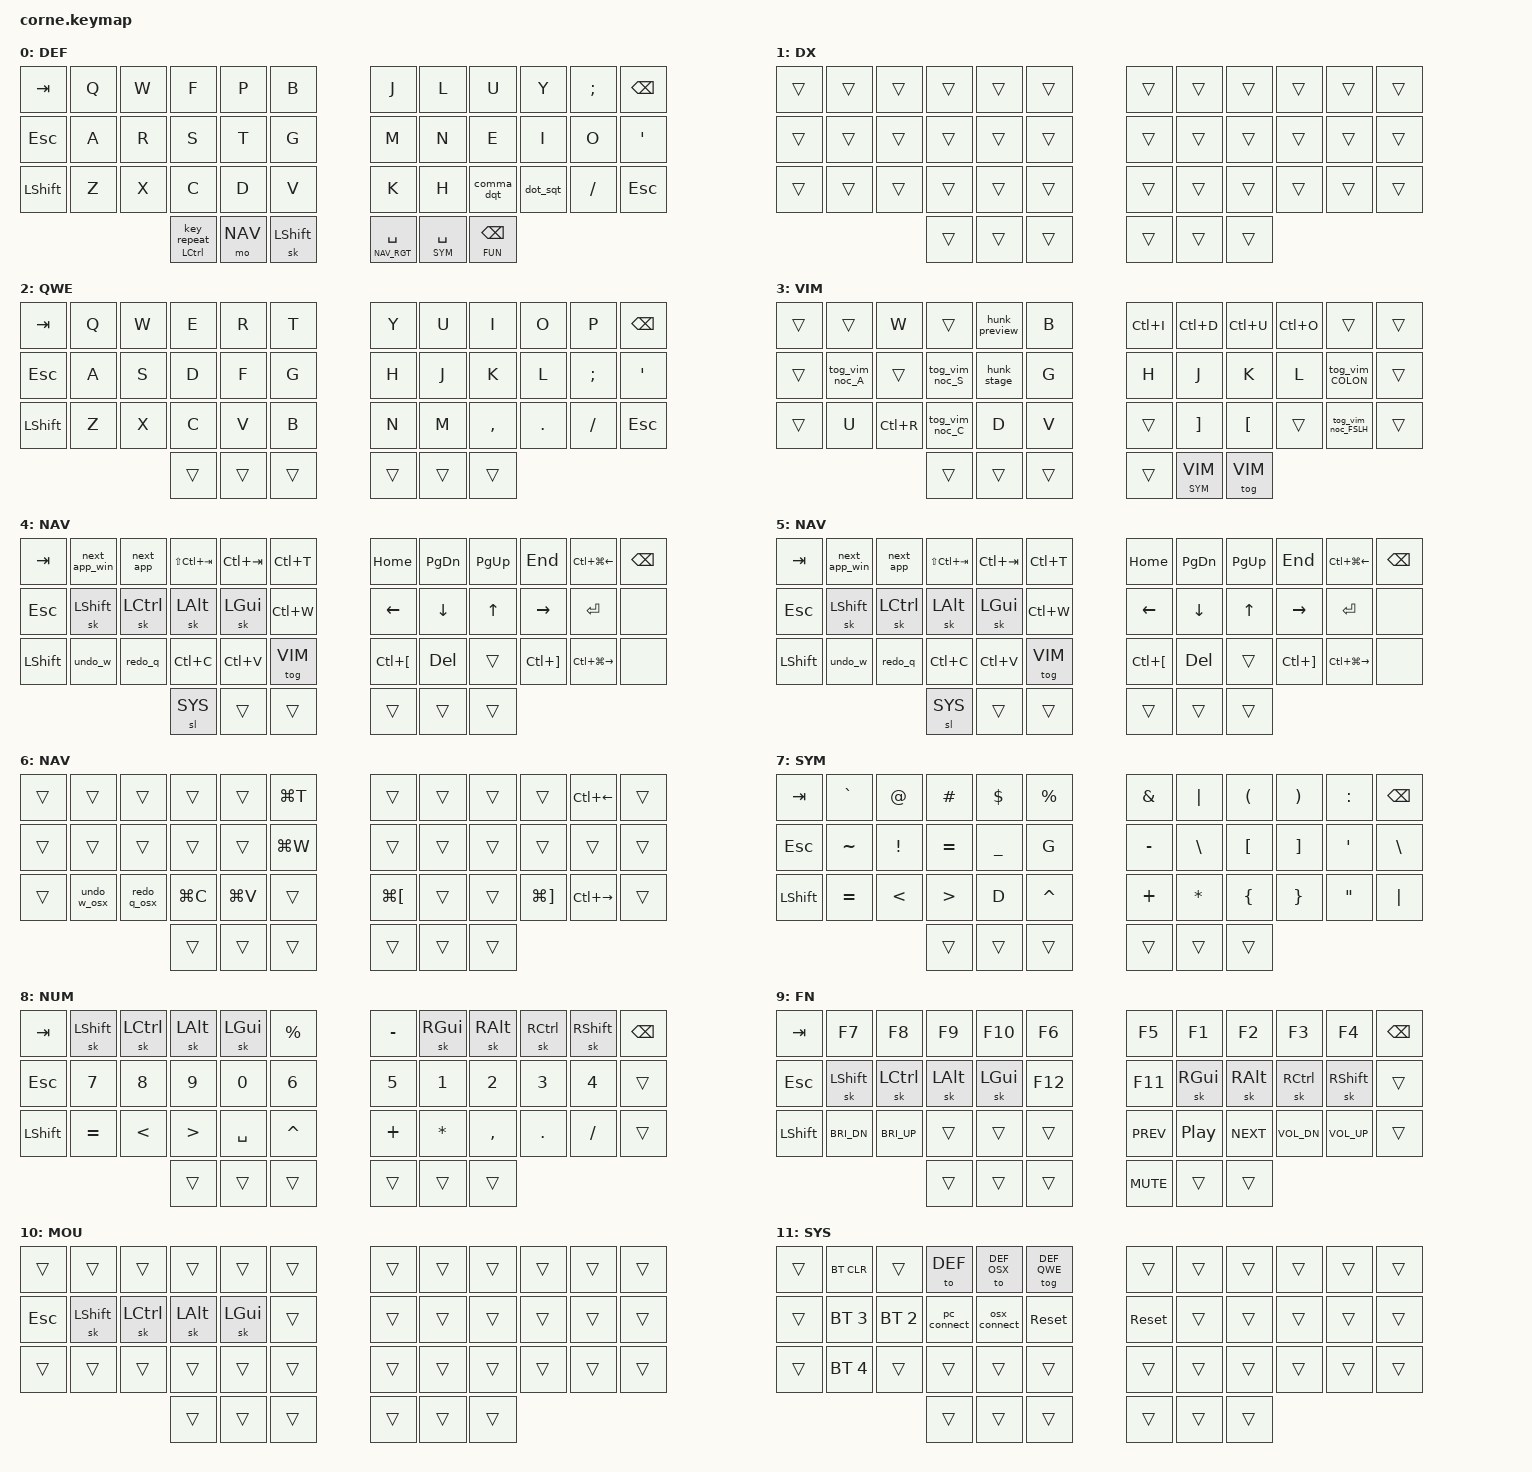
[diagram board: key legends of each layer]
/*
 * Copyright (c) 2020 The ZMK Contributors
 *
 * SPDX-License-Identifier: MIT
 */

#include <behaviors.dtsi>
#include <dt-bindings/zmk/keys.h>
#include <dt-bindings/zmk/bt.h>
#include <dt-bindings/zmk/ext_power.h>

// layers ID definition
#define DEF     0
#define DEF_OSX 1
#define DEF_QWE 2
#define VIM     3
#define NAV     4
#define NAV_RGT 5
#define NAV_OSX 6
#define SYM     7
#define NUM     8
#define FUN     9
#define MOU    10
#define SYS    11

// macros definition
#define meh      LC(LS(LALT))
#define hyper    LG(LC(LS(LALT)))
#define deg      RA(LS(SEMI))
#define prev_tab LS(LC(TAB))
#define next_tab LC(TAB)

// OSX specific macros
#define copy_OSX        LG(C)
#define paste_OSX       LG(V)
#define undo_OSX        LG(Z)
#define redo_OSX        LG(LS(Z))
#define new_tab_OSX     LG(T)
#define close_win_OSX   LG(W)
#define prev_screen_OSX LC(LEFT)
#define next_screen_OSX LC(RIGHT)
#define prev_page_OSX   LG(LBKT)
#define next_page_OSX   LG(RBKT)

// Windows/Linux specific macros
#define copy        LC(C)
#define paste       LC(V)
#define undo        LC(Z)
#define redo        LC(LS(Z))
#define new_tab     LC(T)
#define close_win   LC(W)
#define prev_screen LC(LG(LEFT))
#define next_screen LC(LG(RIGHT))
#define prev_page   LC(LBKT)
#define next_page   LC(RBKT)

// Vim-specific definition
#define TOG_VIM_KEY(key,...) \
    ZMK_MACRO(tog_vim_##key, \
        wait-ms = <0>; \
        tap-ms = <40>; \
        bindings = <&tog VIM &kp key>; \
        __VA_ARGS__ \
    )
#define TOG_VIM_KEY_NOCTRL(key) \
    tog_vim_noc_##key: tog_vim_noc_##key { \
            compatible = "zmk,behavior-mod-morph"; \
            #binding-cells = <0>; \
            bindings = <&tog_vim_##key>, <&kp key>; \
            mods = <(MOD_LCTL|MOD_RCTL)>; \
            keep-mods = <(MOD_LCTL|MOD_RCTL)>; \
        };

&sk {
    release-after-ms = <1000>;
};
&sl {
    release-after-ms = <2000>;
};

/ {
    conditional_layers {
        compatible = "zmk,conditional-layers";
        nav_osx_layer {
            if-layers = <DEF_OSX NAV>;
            then-layer = <NAV_OSX>;
        };
        num_layer {
            if-layers = <NAV SYM>;
            then-layer = <NUM>;
        };
        num_right_layer {
            if-layers = <NAV_RGT SYM>;
            then-layer = <NUM>;
        };
        num_osx_layer {
            if-layers = <NAV_OSX SYM>;
            then-layer = <NUM>;
        };
        mouse_layer {
            if-layers = <NAV NAV_RGT>;
            then-layer = <MOU>;
        };
    };

    macros {
        // esc_space: esc_space {
        //     compatible = "zmk,behavior-macro";
        //     #binding-cells = <0>;
        //     bindings
        //         = <&macro_press &kp ESC>
        //         , <&macro_tap &kp SPACE>
        //         , <&macro_release &kp ESC>
        //         ;
        // };
        next_win: next_win {
            compatible = "zmk,behavior-macro";
            #binding-cells = <0>;
            bindings
                = <&macro_press &kp LALT>
                , <&macro_tap &kp TAB>
                , <&macro_pause_for_layer>
                , <&macro_release &kp LALT>
                ;
        };
        next_app: next_app {
            compatible = "zmk,behavior-macro";
            #binding-cells = <0>;
            bindings
                = <&macro_press &kp RGUI>
                , <&macro_tap &kp TAB>
                , <&macro_pause_for_layer>
                , <&macro_release &kp RGUI>
                ;
        };
        next_app_win: next_app_win {
            compatible = "zmk,behavior-macro";
            #binding-cells = <0>;
            bindings
                = <&macro_press &kp RGUI>
                , <&macro_tap &kp GRAVE>
                , <&macro_pause_for_layer>
                , <&macro_release &kp RGUI>
                ;
        };

        // vim macros
        TOG_VIM_KEY(SPACE)
        TOG_VIM_KEY(COLON)
        TOG_VIM_KEY(FSLH)
        TOG_VIM_KEY(A)
        TOG_VIM_KEY(S)
        TOG_VIM_KEY(C)
        ZMK_MACRO(hunk_stage,
            wait-ms = <30>;
            tap-ms = <40>;
            bindings = <&kp SPACE &kp H &kp S>;
        )
        ZMK_MACRO(hunk_preview,
            wait-ms = <30>;
            tap-ms = <40>;
            bindings = <&kp SPACE &kp H &kp P>;
        )
    };

    behaviors {
        // bspc_del: backspace_delete {
        //     compatible = "zmk,behavior-mod-morph";
        //     #binding-cells = <0>;
        //     bindings = <&kp BACKSPACE>, <&kp DELETE>;
        //     mods = <(MOD_LSFT|MOD_RSFT)>;
        //     keep-mods = <(MOD_RSFT)>;
        // };
        comma_dqt: comma_double_quote {
            compatible = "zmk,behavior-mod-morph";
            #binding-cells = <0>;
            bindings = <&kp COMMA>, <&kp DQT>;
            mods = <(MOD_LSFT|MOD_RSFT)>;
            keep-mods = <(MOD_RSFT)>;
        };
        dot_sqt: dot_single_quote {
            compatible = "zmk,behavior-mod-morph";
            #binding-cells = <0>;
            bindings = <&kp DOT>, <&kp SQT>;
            mods = <(MOD_LSFT|MOD_RSFT)>;
            keep-mods = <(MOD_RSFT)>;
        };
        // comma_sqt: comma_single_quote {
        //     compatible = "zmk,behavior-mod-morph";
        //     #binding-cells = <0>;
        //     bindings = <&kp COMMA>, <&kp SQT>;
        //     mods = <(MOD_LSFT|MOD_RSFT)>;
        //     keep-mods = <(MOD_RSFT)>;
        // };
        // dot_dqt: dot_double_quote {
        //     compatible = "zmk,behavior-mod-morph";
        //     #binding-cells = <0>;
        //     bindings = <&kp DOT>, <&kp DQT>;
        //     mods = <(MOD_LSFT|MOD_RSFT)>;
        //     keep-mods = <(MOD_RSFT)>;
        // };
        undo_w: undo_w {
            compatible = "zmk,behavior-mod-morph";
            #binding-cells = <0>;
            bindings = <&kp undo>, <&kp W>;
            mods = <(MOD_RGUI)>;
            keep-mods = <(MOD_RGUI)>;
        };
        redo_q: redo_q {
            compatible = "zmk,behavior-mod-morph";
            #binding-cells = <0>;
            bindings = <&kp redo>, <&kp Q>;
            mods = <(MOD_RGUI)>;
            keep-mods = <(MOD_RGUI)>;
        };
        undo_w_osx: undo_w_osx {
            compatible = "zmk,behavior-mod-morph";
            #binding-cells = <0>;
            bindings = <&kp undo_OSX>, <&kp W>;
            mods = <(MOD_RGUI)>;
            keep-mods = <(MOD_RGUI)>;
        };
        redo_q_osx: redo_q_osx {
            compatible = "zmk,behavior-mod-morph";
            #binding-cells = <0>;
            bindings = <&kp redo_OSX>, <&kp Q>;
            mods = <(MOD_RGUI)>;
            keep-mods = <(MOD_RGUI)>;
        };

        // espmod: esc_space_mod {
        //     compatible = "zmk,behavior-hold-tap";
        //     #binding-cells = <2>;
        //     flavor = "hold-preferred";
        //     tapping-term-ms = <400>;
        //     quick-tap-ms = <200>;
        //     bindings = <&kp>, <&esc_space>;
        // };
        skht: sticky_key_hold_tap {
            compatible = "zmk,behavior-hold-tap";
            #binding-cells = <2>;
            flavor = "balanced";
            tapping-term-ms = <150>;
            bindings = <&kp>, <&sk>;
        };
        lthp: layer_tap_hold_preferred {
            compatible = "zmk,behavior-hold-tap";
            #binding-cells = <2>;
            flavor = "hold-preferred";
            tapping-term-ms = <200>;
            bindings = <&mo>, <&kp>;
        };
        ltb: layer_tap_balanced {
            compatible = "zmk,behavior-hold-tap";
            #binding-cells = <2>;
            flavor = "balanced";
            tapping-term-ms = <150>;
            quick-tap-ms = <200>;
            bindings = <&mo>, <&kp>;
        };
        // ltbr: layer_tap_balanced_repeat {
        //     compatible = "zmk,behavior-hold-tap";
        //     #binding-cells = <2>;
        //     flavor = "balanced";
        //     tapping-term-ms = <150>;
        //     bindings = <&mo>, <&key_repeat>;
        // };
        htbr: hold_tap_balanced_repeat {
            compatible = "zmk,behavior-hold-tap";
            #binding-cells = <2>;
            flavor = "balanced";
            tapping-term-ms = <200>;
            bindings = <&kp>, <&key_repeat>;
        };

        pc_connect: pc_connect{
            compatible = "zmk,behavior-macro";
            #binding-cells = <0>;
            wait-ms = <100>;
            tap-ms = <5>;
            bindings = <&bt BT_SEL 1 &to DEF>;
        };
        osx_connect: osx_connect{
            compatible = "zmk,behavior-macro";
            #binding-cells = <0>;
            wait-ms = <100>;
            tap-ms = <5>;
            bindings = <&bt BT_SEL 0 &to DEF_OSX>;
        };

        // vim-specific bindings
        lttogsp: layer_tap_toggle_space {
            compatible = "zmk,behavior-hold-tap";
            #binding-cells = <2>;
            flavor = "balanced";
            tapping-term-ms = <150>;
            bindings = <&mo>, <&tog_vim_noc_SPACE>;
        };
        TOG_VIM_KEY_NOCTRL(SPACE)
        TOG_VIM_KEY_NOCTRL(FSLH)
        TOG_VIM_KEY_NOCTRL(A)
        TOG_VIM_KEY_NOCTRL(C)
        TOG_VIM_KEY_NOCTRL(S)
    };

    combos {
        compatible = "zmk,combos";
        combo_tab {
            // conflicts with Qwerty "we"
            key-positions = <2 3>;
            bindings = <&kp TAB>;
        };
        combo_esc {
            key-positions = <26 27>;
            bindings = <&kp ESC>;
        };
        combo_vim {
            key-positions = <25 26>;
            layers = <DEF DEF_OSX DEF_QWE VIM>;
            bindings = <&tog VIM>;
        };
        combo_bsp {
            key-positions = <8 9>;
            // not needed in default or nav layers
            // conflicts with SYM layer "()"
            layers = <NUM FUN>;
            bindings = <&kp BSPC>;
        };
        combo_ent {
            key-positions = <32 33>;
            // conflicts with SYM layer "{}"
            layers = <DEF DEF_OSX DEF_QWE VIM NAV NAV_RGT NAV_OSX NUM FUN>;
            bindings = <&kp RET>;
        };
    };

    keymap {
        compatible = "zmk,keymap";
// Colemak-DH
        default_layer {
            display-name = "DEF";
// -----------------------------------------------------------------------------------------
// |  TAB |  Q   |  W  |  F  |  P  |  B   |   |  J  |  L  |  U  |  Y  |  ;  | BKSP |
// |  ESC |  A   |  R  |  S  |  T  |  G   |   |  M  |  N  |  E  |  I  |  O  |  '   |
// | SHFT |  Z   |  X  |  C  |  D  |  V   |   |  K  |  H  |  ,  |  .  |  /  | ESC  |
//               | RPT/CTRL  | NAV | SHFT |   | SPC/NAV | SPC/SYM | BKSP/FUN |
            bindings = <
   &kp TAB   &kp Q &kp W &kp F &kp P &kp B   &kp J &kp L  &kp U      &kp Y    &kp SEMI &kp BSPC
   &kp ESC   &kp A &kp R &kp S &kp T &kp G   &kp M &kp N  &kp E      &kp I    &kp O    &kp SQT
   &kp LSHFT &kp Z &kp X &kp C &kp D &kp V   &kp K &kp H  &comma_dqt &dot_sqt &kp FSLH &kp ESC
           &htbr LCTRL 0 &mo NAV &sk LSHFT   &ltb NAV_RGT SPACE &ltb SYM SPACE &ltb FUN BSPC
            >;
        };

        default_osx_layer {
            display-name = "DX";
// -----------------------------------------------------------------------------------------
// |      |      |     |     |     |      |   |     |     |     |     |     |      |
// |      |      |     |     |     |      |   |     |     |     |     |     |      |
// |      |      |     |     |     |      |   |     |     |     |     |     |      |
//                     |     |     |      |   |     |     |     |
            bindings = <
   &trans &trans &trans &trans &trans &trans &trans &trans &trans &trans &trans &trans
   &trans &trans &trans &trans &trans &trans &trans &trans &trans &trans &trans &trans
   &trans &trans &trans &trans &trans &trans &trans &trans &trans &trans &trans &trans
                        &trans &trans &trans &trans &trans &trans
            >;
        };

// Qwerty
        default_qwerty_layer {
            display-name = "QWE";
// -----------------------------------------------------------------------------------------
// |  TAB |  Q   |  W  |  E  |  R  |  T  |   |  Y  |  U  |  I  |  O  |  P  | BKSP |
// |  ESC |  A   |  S  |  D  |  F  |  G  |   |  H  |  J  |  K  |  L  |  ;  |  '   |
// | SHFT |  Z   |  X  |  C  |  V  |  B  |   |  N  |  M  |  ,  |  .  |  /  | ESC  |
//                     |     |     |     |   |     |     |     |
            bindings = <
   &kp TAB   &kp Q &kp W &kp E &kp R &kp T   &kp Y &kp U  &kp I     &kp O   &kp P    &kp BSPC
   &kp ESC   &kp A &kp S &kp D &kp F &kp G   &kp H &kp J  &kp K     &kp L   &kp SEMI &kp SQT
   &kp LSHFT &kp Z &kp X &kp C &kp V &kp B   &kp N &kp M  &kp COMMA &kp DOT &kp FSLH &kp ESC
                      &trans &trans &trans   &trans &trans &trans
            >;
        };

        vim_layer {
            display-name = "VIM";
// -----------------------------------------------------------------------------------------
// |      |        |  W  |        | Preview |  B  |   | C-I | C-D | C-U | C-O |        |      |
// |      | A+EXIT |     | S+EXIT | Stage   |  G  |   |  H  |  J  |  K  |  L  | :+EXIT |      |
// |      |   U    | C-R | C+EXIT |  D      |  V  |   |     |  ]  |  [  |     | /+EXIT |      |
//                       |        |         |     |   |     | SPC+EXIT/SYM | EXIT |
            bindings = <
   &trans &trans         &kp W     &trans         &hunk_preview &kp B   &kp LC(I) &kp LC(D) &kp LC(U) &kp LC(O) &trans            &trans
   &trans &tog_vim_noc_A &trans    &tog_vim_noc_S &hunk_stage   &kp G   &kp H     &kp J     &kp K     &kp L     &tog_vim_COLON    &trans
   &trans &kp U          &kp LC(R) &tog_vim_noc_C &kp D         &kp V   &trans    &kp RBKT  &kp LBKT  &trans    &tog_vim_noc_FSLH &trans
                                                  &trans &trans &trans  &trans &lttogsp SYM VIM &tog VIM
            >;
        };

        nav_layer {
            display-name = "NAV";
// -----------------------------------------------------------------------------------------
// | TAB  | NEXT WIN | NEXT APP | TAB LFT | TAB RGT | NEW TAB |  | HOME | PGDN | PGUP | END | SCR LFT | BKSP |
// | ESC  | SHFT     | CTRL     | ALT     | CMD     | CLOSE   |  | LFT  | DWN  | UP   | RGT | ENT     |      |
// | SHFT | UNDO     | REDO     | COPY    | PASTE   | VIM     |  | BACK | DEL  |      | FWD | SCR RGT |      |
//                                     | SYS  |     |         |  |      | NUM  |      |
            bindings = <
   &kp TAB   &next_app_win &next_app &kp prev_tab  &kp next_tab  &kp new_tab   &kp HOME      &kp PG_DN &kp PG_UP &kp END       &kp prev_screen &kp BSPC
   &kp ESC   &sk LSHFT     &sk LCTRL &sk LALT      &sk LGUI      &kp close_win &kp LEFT      &kp DOWN  &kp UP    &kp RIGHT     &kp RET         &none
   &kp LSHFT &undo_w       &redo_q   &kp copy      &kp paste     &tog VIM      &kp prev_page &kp DEL   &trans    &kp next_page &kp next_screen &none
                                                         &sl SYS &trans &trans &trans &trans &trans
            >;
        };

        nav_right_layer {
            display-name = "NAV";
// -----------------------------------------------------------------------------------------
// | TAB  | NEXT WIN | NEXT APP | TAB LFT | TAB RGT | NEW TAB |  | HOME | PGDN | PGUP | END | SCR LFT | BKSP |
// | ESC  | SHFT     | CTRL     | ALT     | CMD     | CLOSE   |  | LFT  | DWN  | UP   | RGT | ENT     |      |
// | SHFT | UNDO     | REDO     | COPY    | PASTE   | VIM     |  | BACK | DEL  |      | FWD | SCR RGT |      |
//                                     | SYS  |     |         |  |      | NUM  |      |
            bindings = <
   &kp TAB   &next_app_win &next_app &kp prev_tab  &kp next_tab  &kp new_tab   &kp HOME      &kp PG_DN &kp PG_UP &kp END       &kp prev_screen &kp BSPC
   &kp ESC   &sk LSHFT     &sk LCTRL &sk LALT      &sk LGUI      &kp close_win &kp LEFT      &kp DOWN  &kp UP    &kp RIGHT     &kp RET         &none
   &kp LSHFT &undo_w       &redo_q   &kp copy      &kp paste     &tog VIM      &kp prev_page &kp DEL   &trans    &kp next_page &kp next_screen &none
                                                         &sl SYS &trans &trans &trans &trans &trans
            >;
        };

        nav_osx_layer {
            display-name = "NAV";
// -----------------------------------------------------------------------------------------
// |      |      |      |      |       | NEW TAB |  |      |      |      |      | SCR LFT |      |
// |      |      |      |      |       | CLOSE   |  |      |      |      |      |         |      |
// |      | UNDO | REDO | COPY | PASTE |         |  | BACK |      |      | FWD  | SCR RGT |      |
//                      |      |       |         |  |      |      |      |
            bindings = <
   &trans &trans      &trans      &trans       &trans        &kp new_tab_OSX    &trans            &trans &trans &trans            &kp prev_screen_OSX &trans
   &trans &trans      &trans      &trans       &trans        &kp close_win_OSX  &trans            &trans &trans &trans            &trans              &trans
   &trans &undo_w_osx &redo_q_osx &kp copy_OSX &kp paste_OSX &trans             &kp prev_page_OSX &trans &trans &kp next_page_OSX &kp next_screen_OSX &trans
                                               &trans &trans &trans             &trans &trans &trans
            >;
        };

        sym_layer {
            display-name = "SYM";
// -----------------------------------------------------------------------------------------
// |  TAB |  `  |  @  |  #  |  $  |  %  |   |  &  | "|" |  (  |  )  |  :  | BKSP |
// |  ESC |  ~  |  !  |  =  |  _  |  G  |   |  -  |  \  |  [  |  ]  |  '  |  \   |
// | SHFT |  =  |  <  |  >  |  D  |  ^  |   |  +  |  *  |  {  |  }  |  "  | "|"  |
//                    |     | NUM |     |   |     |     |     |
            bindings = <
   &kp  TAB  &kp GRAVE &kp AT   &kp HASH  &kp DLLR  &kp PRCNT &kp AMPS  &kp PIPE &kp LPAR &kp RPAR &kp COLON &kp BSPC
   &kp  ESC  &kp TILDE &kp EXCL &kp EQUAL &kp UNDER &kp G     &kp MINUS &kp BSLH &kp LBKT &kp RBKT &kp SQT   &kp BSLH
   &kp LSHFT &kp EQUAL &kp LT   &kp GT    &kp D     &kp CARET &kp PLUS  &kp STAR &kp LBRC &kp RBRC &kp DQT   &kp PIPE
                                &trans    &trans    &trans    &trans &trans &trans
            >;
        };

        num_layer {
            display-name = "NUM";
// -----------------------------------------------------------------------------------------
// |  TAB | SHFT| CTRL | ALT | CMD |  %  |   |  -  | CMD | CTRL| ALT | SHFT| BKSP |
// |  ESC |  7  |  8   |  9  |  0  |  6  |   |  5  |  1  |  2  |  3  |  4  |      |
// | SHFT |  =  |  <   |  >  | SPC |  ^  |   |  +  |  *  |  ,  |  .  |  /  |      |
//                     |     |     |     |   |     |     |     |
            bindings = <
   &kp TAB   &sk LSHFT &sk LCTRL &sk LALT  &sk LGUI  &kp PRCNT &kp MINUS &sk RGUI &sk RALT  &sk RCTRL &sk RSHFT &kp BSPC
   &kp ESC   &kp N7    &kp N8    &kp N9    &kp N0    &kp N6    &kp N5    &kp N1   &kp N2    &kp N3    &kp N4    &trans
   &kp LSHFT &kp EQUAL &kp LT    &kp GT    &kp SPACE &kp CARET &kp PLUS  &kp STAR &kp COMMA &kp DOT   &kp FSLH  &trans
                                 &trans    &trans    &trans    &trans    &trans   &trans
            >;
        };

        fun_layer {
            display-name = "FN";
// -----------------------------------------------------------------------------------------
// |  TAB | F7     | F8     | F9  | F10 | F6  |   | F5   | F1   | F2   | F3     | F4     | BKSP |
// |  ESC | SHFT   | CTRL   | ALT | CMD | F12 |   | F11  | CMD  | ALT  | CTRL   | SHFT   |      |
// | SHFT | BRI DN | BRI UP |     |     |     |   | PREV | PLAY | NEXT | VOL DN | VOL UP |      |
//                          |     |     |     |   | MUTE |      |      |
            bindings = <
   &kp TAB   &kp F7       &kp F8       &kp F9   &kp F10  &kp F6  &kp F5     &kp F1           &kp F2     &kp F3       &kp F4     &kp BSPC
   &kp ESC   &sk LSHFT    &sk LCTRL    &sk LALT &sk LGUI &kp F12 &kp F11    &sk RGUI         &sk RALT   &sk RCTRL    &sk RSHFT  &trans
   &kp LSHFT &kp C_BRI_DN &kp C_BRI_UP &trans   &trans   &trans  &kp C_PREV &kp C_PLAY_PAUSE &kp C_NEXT &kp C_VOL_DN &kp C_VOL_UP &trans
                                       &trans   &trans   &trans  &kp C_MUTE &trans &trans
            >;
        };

        mouse_layer {
            display-name = "MOU";
// -----------------------------------------------------------------------------------------
// |      |      |      |     |     | ACC 2 |   | SCL UP | SCL LFT | MOU UP | SCL RGT |      |      |
// |  ESC | SHFT | CTRL | ALT | CMD | ACC 1 |   | SCL DN | MOU LFT | MOU DN | MOU RGT |      |      |
// |      |      |      |     |     | ACC 0 |   |        | MOU 1   | MOU 2  |         |      |      |
//                      |     |     |       |   |        |         |        |
            bindings = <
   &trans  &trans    &trans    &trans   &trans   &trans &trans &trans &trans &trans &trans &trans
   &kp ESC &sk LSHFT &sk LCTRL &sk LALT &sk LGUI &trans &trans &trans &trans &trans &trans &trans
   &trans  &trans    &trans    &trans   &trans   &trans &trans &trans &trans &trans &trans &trans
                        &trans &trans &trans &trans &trans &trans
            >;
        };

        sys_layer {
            display-name = "SYS";
// -----------------------------------------------------------------------------------------
// |     |BTCLR|     | DEF        | DEF_OSX     | QWERTY |   |       |      |      |     |     |     |
// |     | BT3 | BT2 | PC connect | OSX connect | Reset  |   | Reset |      |      |     |     |     |
// |     | BT4 |     |            |             |        |   |       |      |      |     |     |     |
//                   |            |             |        |   |       |      |      |
            bindings = <
   &trans &bt BT_CLR   &trans       &to DEF     &to DEF_OSX   &tog DEF_QWE &trans     &trans &trans &trans &trans &trans
   &trans &bt BT_SEL 3 &bt BT_SEL 2 &pc_connect &osx_connect  &sys_reset   &sys_reset &trans &trans &trans &trans &trans
   &trans &bt BT_SEL 4 &trans       &trans      &trans &trans &trans       &trans &trans &trans &trans &trans
                                                &trans &trans &trans       &trans &trans &trans
            >;
        };
    };
};

// vi: ft=dts
